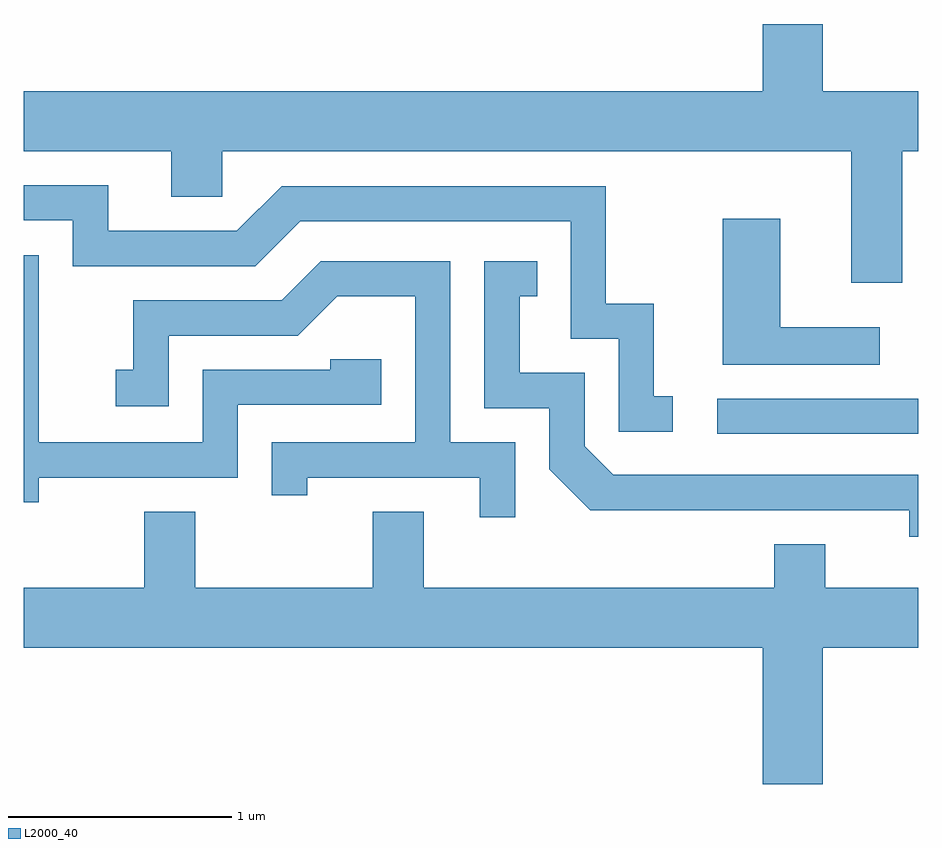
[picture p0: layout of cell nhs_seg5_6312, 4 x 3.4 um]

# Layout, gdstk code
import gdstk
lib = gdstk.Library(unit=1e-6, precision=1e-09)
def R(c, l, rs):  # rectangles x0, y0, x1, y1
    for r in rs: c.add(gdstk.rectangle(r[:2], r[2:], *l))
def P(c, l, *ps):  # polygons
    for p in ps: c.add(gdstk.Polygon(p, *l))
L2000_40 = (2000, 40)

nhs_seg5_6312 = lib.new_cell('nhs_seg5_6312')
R(nhs_seg5_6312, L2000_40, [(374.713,1519.911,375.611,1520.069)])
P(nhs_seg5_6312, L2000_40, [(375.539,1521.176),(375.611,1521.176),(375.611,1521.444),(375.184,1521.444),(375.184,1521.744),(374.916,1521.744),(374.916,1521.444),(371.611,1521.444),(371.611,1521.176),(372.271,1521.176),(372.271,1520.971),(372.499,1520.971),(372.499,1521.176),(375.311,1521.176),(375.311,1520.586),(375.539,1520.586)],
  [(374.513,1520.079),(374.429,1520.079),(374.429,1520.494),(374.214,1520.494),(374.214,1521.019),(372.764,1521.019),(372.564,1520.819),(371.989,1520.819),(371.989,1521.024),(371.611,1521.024),(371.611,1520.866),(371.831,1520.866),(371.831,1520.661),(372.647,1520.661),(372.847,1520.861),(374.056,1520.861),(374.056,1520.336),(374.271,1520.336),(374.271,1519.921),(374.513,1519.921)],
  [(375.438,1520.389),(374.994,1520.389),(374.994,1520.874),(374.736,1520.874),(374.736,1520.221),(375.438,1520.221)],
  [(371.679,1519.716),(372.569,1519.716),(372.569,1520.041),(373.209,1520.041),(373.209,1520.244),(372.981,1520.244),(372.981,1520.199),(372.411,1520.199),(372.411,1519.874),(371.679,1519.874),(371.679,1520.709),(371.611,1520.709),(371.611,1519.606),(371.679,1519.606)],
  [(375.611,1519.729),(374.247,1519.729),(374.119,1519.857),(374.119,1520.184),(373.829,1520.184),(373.829,1520.526),(373.908,1520.526),(373.908,1520.684),(373.671,1520.684),(373.671,1520.026),(373.961,1520.026),(373.961,1519.754),(374.144,1519.571),(375.571,1519.571),(375.571,1519.451),(375.611,1519.451)],
  [(373.809,1519.874),(373.519,1519.874),(373.519,1520.684),(372.939,1520.684),(372.764,1520.509),(372.101,1520.509),(372.101,1520.199),(372.023,1520.199),(372.023,1520.036),(372.259,1520.036),(372.259,1520.351),(372.837,1520.351),(373.012,1520.526),(373.361,1520.526),(373.361,1519.874),(372.721,1519.874),(372.721,1519.638),(372.879,1519.638),(372.879,1519.716),(373.651,1519.716),(373.651,1519.538),(373.809,1519.538)],
  [(375.184,1518.956),(375.611,1518.956),(375.611,1519.224),(375.194,1519.224),(375.194,1519.419),(374.966,1519.419),(374.966,1519.224),(373.399,1519.224),(373.399,1519.564),(373.171,1519.564),(373.171,1519.224),(372.379,1519.224),(372.379,1519.564),(372.151,1519.564),(372.151,1519.224),(371.611,1519.224),(371.611,1518.956),(374.916,1518.956),(374.916,1518.346),(375.184,1518.346)])

lib.write_gds('nhs_seg5_6312.gds')
